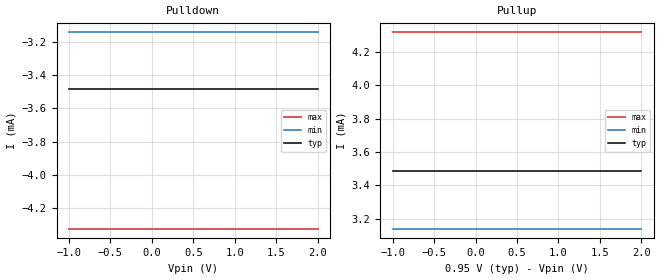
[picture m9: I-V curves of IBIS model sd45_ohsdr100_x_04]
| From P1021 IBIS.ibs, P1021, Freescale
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[Model]   sd45_ohsdr100_x_04
Model_type 3-state
Enable Active-High
Polarity Non-Inverting
|   TYP   MIN   MAX
C_comp   0.00pF   0.00pF   0.00pF
[Model Spec]
Vmeas   0.475   0.425   0.605
[Temperature Range] 65   125   -40
[Voltage Range]   0.95   0.85   1.21
[Pullup]
|   Vout(V)   TYP   WCS   BCS
-1V       3.486mA    3.14mA     4.319mA
2V        3.486mA    3.14mA     4.319mA
[Pulldown]
|   Vout(V)   TYP   WCS   BCS
-1V       -3.486mA   -3.142mA   -4.323mA
2V        -3.486mA   -3.142mA   -4.323mA
[GND Clamp]
|   Vout(V)   TYP   WCS   BCS
-1V       0A         0A         0A
1V        0A         0A         0A
[POWER Clamp]
|   Vout(V)   TYP   WCS   BCS
-1V       0A         0A         0A
0V        0A         0A         0A
[Ramp]
R_load=50
dV/dt_r  2.9887e-01/6.4040e-11  2.6861e-01/6.5155e-11  3.8214e-01/6.5744e-11
dV/dt_f  2.9887e-01/6.6355e-11  2.6861e-01/6.7761e-11  3.8218e-01/6.7348e-11
|[End   sd45_ohsdr100_x_04
